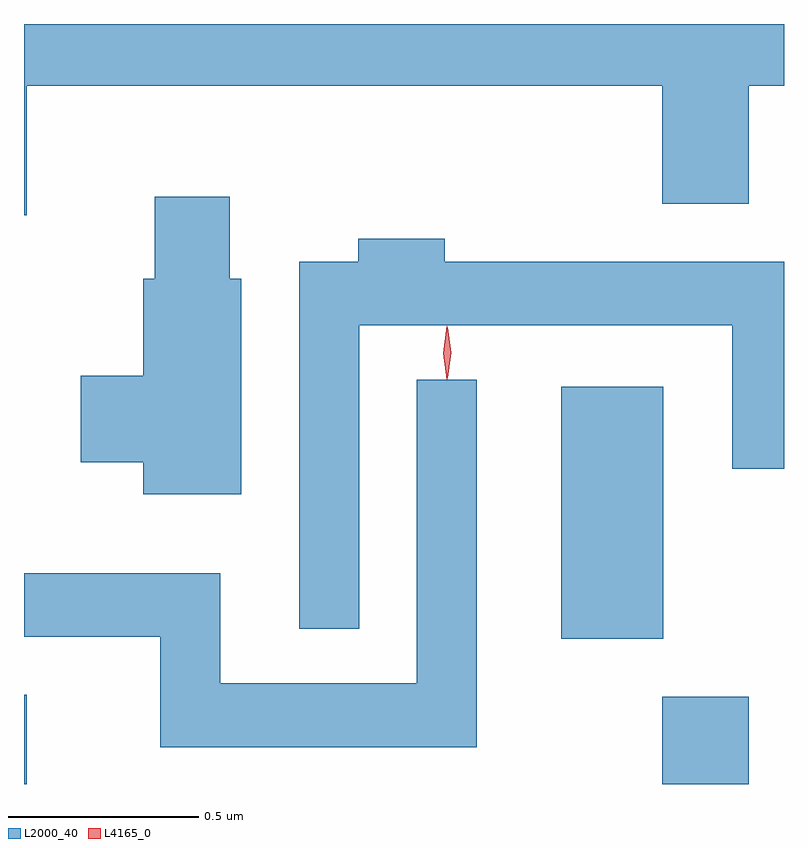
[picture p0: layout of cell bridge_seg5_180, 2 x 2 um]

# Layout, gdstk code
import gdstk
lib = gdstk.Library(unit=1e-6, precision=1e-09)
def R(c, l, rs):  # rectangles x0, y0, x1, y1
    for r in rs: c.add(gdstk.rectangle(r[:2], r[2:], *l))
def P(c, l, *ps):  # polygons
    for p in ps: c.add(gdstk.Polygon(p, *l))
L2000_40 = (2000, 40)
L4165_0 = (4165, 0)

bridge_seg5_180 = lib.new_cell('bridge_seg5_180')
R(bridge_seg5_180, L2000_40, [(1207.662,1417.219,1207.669,1417.454), (1209.341,1417.219,1209.569,1417.449), (1209.076,1417.601,1209.344,1418.264)])
P(bridge_seg5_180, L2000_40, [(1207.669,1419.056),(1209.341,1419.056),(1209.341,1418.746),(1209.569,1418.746),(1209.569,1419.056),(1209.662,1419.056),(1209.662,1419.219),(1207.662,1419.219),(1207.662,1418.716),(1207.669,1418.716)],
  [(1208.234,1418.549),(1208.204,1418.549),(1208.204,1418.764),(1208.006,1418.764),(1208.006,1418.549),(1207.976,1418.549),(1207.976,1418.294),(1207.811,1418.294),(1207.811,1418.066),(1207.976,1418.066),(1207.976,1417.981),(1208.234,1417.981)],
  [(1208.544,1418.426),(1209.526,1418.426),(1209.526,1418.048),(1209.662,1418.048),(1209.662,1418.594),(1208.769,1418.594),(1208.769,1418.654),(1208.541,1418.654),(1208.541,1418.594),(1208.386,1418.594),(1208.386,1417.628),(1208.544,1417.628)],
  [(1208.854,1418.283),(1208.696,1418.283),(1208.696,1417.484),(1208.179,1417.484),(1208.179,1417.774),(1207.662,1417.774),(1207.662,1417.606),(1208.021,1417.606),(1208.021,1417.316),(1208.854,1417.316)])
P(bridge_seg5_180, L4165_0, [(1208.775,1418.284),(1208.775,1418.284),(1208.765,1418.353),(1208.775,1418.423),(1208.775,1418.423),(1208.776,1418.423),(1208.785,1418.353),(1208.776,1418.284)],
  [(1208.776,1418.287),(1208.776,1418.288),(1208.766,1418.354),(1208.776,1418.42),(1208.776,1418.421),(1208.777,1418.42),(1208.786,1418.354),(1208.777,1418.288)])

lib.write_gds('bridge_seg5_180.gds')
